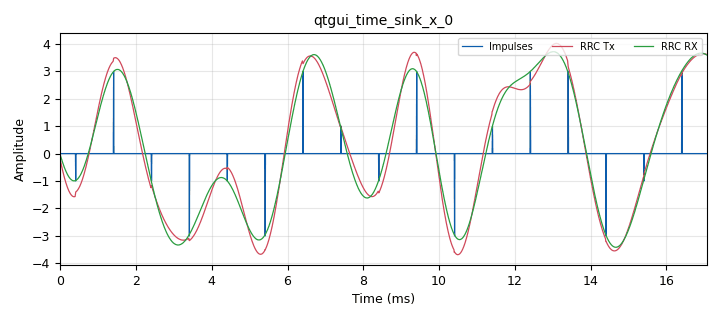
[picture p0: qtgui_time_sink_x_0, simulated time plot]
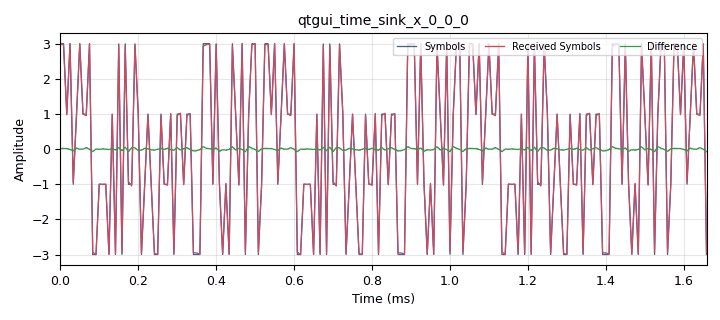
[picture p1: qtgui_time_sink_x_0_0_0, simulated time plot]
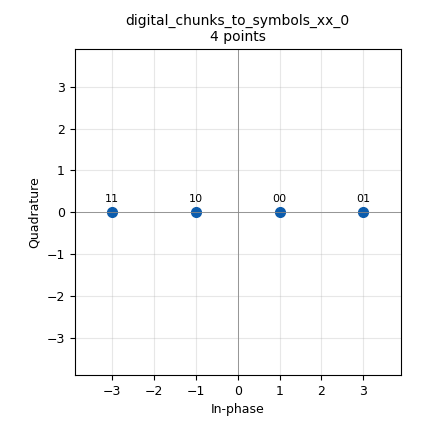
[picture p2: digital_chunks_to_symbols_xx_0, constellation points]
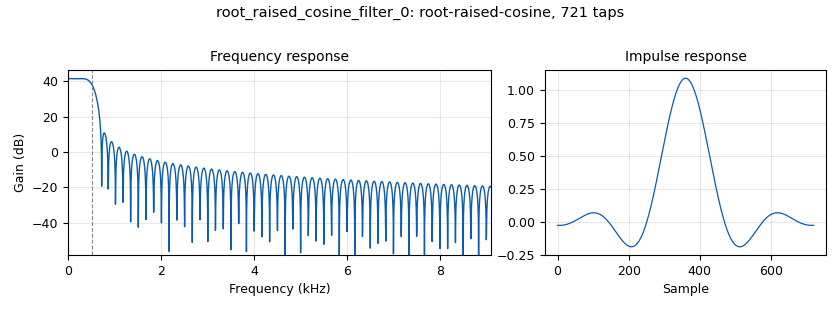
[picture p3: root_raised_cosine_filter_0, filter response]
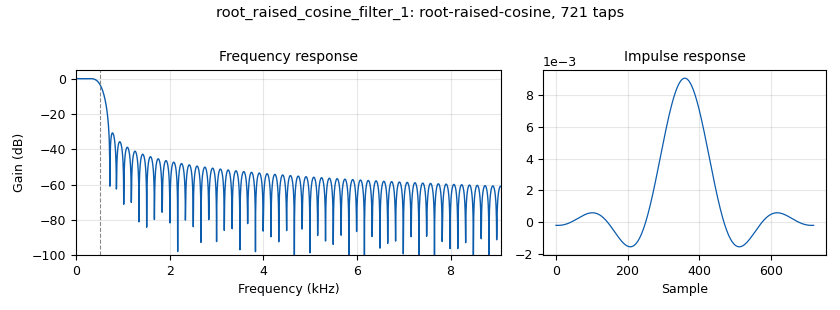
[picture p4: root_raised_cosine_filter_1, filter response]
<?xml version='1.0' encoding='utf-8'?>
<?grc format='1' created='3.7.9'?>
<flow_graph>
<block>
<key>options</key>
<param><key>id</key><value>top_block</value></param>
<param><key>author</key><value>Colter McQuay</value></param>
<param><key>category</key><value>Custom</value></param>
<param><key>generate_options</key><value>qt_gui</value></param>
<param><key>title</key><value>RRCF</value></param>
</block>
<block>
<key>variable_qtgui_range</key>
<param><key>id</key><value>noise</value></param>
<param><key>value</key><value>0</value></param>
<param><key>label</key><value>Noise Level</value></param>
<param><key>orient</key><value>Qt.Horizontal</value></param>
<param><key>start</key><value>0</value></param>
<param><key>step</key><value>0.01</value></param>
<param><key>stop</key><value>5</value></param>
</block>
<block>
<key>variable</key>
<param><key>id</key><value>rrc_taps</value></param>
<param><key>value</key><value>samp_per_sym*6+1</value></param>
</block>
<block>
<key>variable</key>
<param><key>id</key><value>samp_per_sym</value></param>
<param><key>value</key><value>120</value></param>
</block>
<block>
<key>variable</key>
<param><key>id</key><value>samp_rate</value></param>
<param><key>value</key><value>symb_rate*samp_per_sym</value></param>
</block>
<block>
<key>variable</key>
<param><key>id</key><value>symb_rate</value></param>
<param><key>value</key><value>1000</value></param>
</block>
<block>
<key>variable</key>
<param><key>id</key><value>symbol_delay</value></param>
<param><key>value</key><value>rrc_taps/samp_per_sym-1</value></param>
</block>
<block>
<key>analog_fastnoise_source_x</key>
<param><key>id</key><value>analog_fastnoise_source_x_0</value></param>
<param><key>amp</key><value>noise</value></param>
<param><key>noise_type</key><value>analog.GR_GAUSSIAN</value></param>
<param><key>type</key><value>float</value></param>
<param><key>seed</key><value>0</value></param>
<param><key>samples</key><value>8192</value></param>
</block>
<block>
<key>blks2_error_rate</key>
<param><key>id</key><value>blks2_error_rate_0</value></param>
<param><key>bits_per_symbol</key><value>2</value></param>
<param><key>type</key><value>'BER'</value></param>
<param><key>win_size</key><value>1000</value></param>
</block>
<block>
<key>blocks_add_xx</key>
<param><key>id</key><value>blocks_add_xx_0</value></param>
<param><key>type</key><value>float</value></param>
</block>
<block>
<key>blocks_char_to_float</key>
<param><key>id</key><value>blocks_char_to_float_0</value></param>
<param><key>_enabled</key><value>0</value></param>
<param><key>scale</key><value>1</value></param>
</block>
<block>
<key>blocks_char_to_float</key>
<param><key>id</key><value>blocks_char_to_float_0_0</value></param>
<param><key>_enabled</key><value>0</value></param>
<param><key>scale</key><value>1</value></param>
</block>
<block>
<key>blocks_delay</key>
<param><key>id</key><value>blocks_delay_0</value></param>
<param><key>delay</key><value>rrc_taps</value></param>
<param><key>type</key><value>float</value></param>
</block>
<block>
<key>blocks_delay</key>
<param><key>id</key><value>blocks_delay_0_0</value></param>
<param><key>delay</key><value>rrc_taps/2</value></param>
<param><key>type</key><value>float</value></param>
</block>
<block>
<key>blocks_delay</key>
<param><key>id</key><value>blocks_delay_0_1</value></param>
<param><key>delay</key><value>symbol_delay</value></param>
<param><key>type</key><value>float</value></param>
</block>
<block>
<key>blocks_delay</key>
<param><key>id</key><value>blocks_delay_2</value></param>
<param><key>delay</key><value>symbol_delay</value></param>
<param><key>type</key><value>byte</value></param>
</block>
<block>
<key>blocks_keep_one_in_n</key>
<param><key>id</key><value>blocks_keep_one_in_n_0</value></param>
<param><key>n</key><value>samp_per_sym</value></param>
<param><key>type</key><value>float</value></param>
</block>
<block>
<key>blocks_pack_k_bits_bb</key>
<param><key>id</key><value>blocks_pack_k_bits_bb_0_0</value></param>
<param><key>k</key><value>2</value></param>
</block>
<block>
<key>blocks_sub_xx</key>
<param><key>id</key><value>blocks_sub_xx_0</value></param>
<param><key>type</key><value>float</value></param>
</block>
<block>
<key>blocks_throttle</key>
<param><key>id</key><value>blocks_throttle_0</value></param>
<param><key>samples_per_second</key><value>samp_rate</value></param>
<param><key>type</key><value>float</value></param>
</block>
<block>
<key>digital_chunks_to_symbols_xx</key>
<param><key>id</key><value>digital_chunks_to_symbols_xx_0</value></param>
<param><key>dimension</key><value>1</value></param>
<param><key>in_type</key><value>byte</value></param>
<param><key>out_type</key><value>float</value></param>
<param><key>symbol_table</key><value>(1,3,-1,-3)</value></param>
</block>
<block>
<key>digital_glfsr_source_x</key>
<param><key>id</key><value>digital_glfsr_source_x_0</value></param>
<param><key>degree</key><value>6</value></param>
<param><key>mask</key><value>0</value></param>
<param><key>repeat</key><value>True</value></param>
<param><key>seed</key><value>1</value></param>
<param><key>type</key><value>byte</value></param>
</block>
<block>
<key>four_level_symbol_mapper</key>
<param><key>id</key><value>four_level_symbol_mapper_0</value></param>
<param><key>symbol_map</key><value>[1,3,-1,-3]</value></param>
</block>
<block>
<key>interp_fir_filter_xxx</key>
<param><key>id</key><value>interp_fir_filter_xxx_0</value></param>
<param><key>interp</key><value>samp_per_sym</value></param>
<param><key>taps</key><value>[1]</value></param>
<param><key>type</key><value>fff</value></param>
</block>
<block>
<key>qtgui_number_sink</key>
<param><key>id</key><value>qtgui_number_sink_0</value></param>
<param><key>graph_type</key><value>qtgui.NUM_GRAPH_HORIZ</value></param>
<param><key>type</key><value>float</value></param>
<param><key>label1</key><value>BER</value></param>
<param><key>min</key><value>0</value></param>
<param><key>name</key><value>BER</value></param>
</block>
<block>
<key>qtgui_time_sink_x</key>
<param><key>id</key><value>qtgui_time_sink_x_0</value></param>
<param><key>autoscale</key><value>True</value></param>
<param><key>color1</key><value>"blue"</value></param>
<param><key>label1</key><value>Impulses</value></param>
<param><key>alpha2</key><value>.3</value></param>
<param><key>color2</key><value>"red"</value></param>
<param><key>label2</key><value>RRC Tx</value></param>
<param><key>color3</key><value>"green"</value></param>
<param><key>label3</key><value>RRC RX</value></param>
<param><key>nconnections</key><value>3</value></param>
<param><key>size</key><value>2048</value></param>
<param><key>srate</key><value>samp_rate</value></param>
<param><key>type</key><value>float</value></param>
<param><key>ymax</key><value>3</value></param>
<param><key>ymin</key><value>-3</value></param>
</block>
<block>
<key>qtgui_time_sink_x</key>
<param><key>id</key><value>qtgui_time_sink_x_0_0</value></param>
<param><key>autoscale</key><value>True</value></param>
<param><key>_enabled</key><value>0</value></param>
<param><key>color1</key><value>"blue"</value></param>
<param><key>label1</key><value>Symbols</value></param>
<param><key>color2</key><value>"red"</value></param>
<param><key>label2</key><value>Received Symbols</value></param>
<param><key>nconnections</key><value>2</value></param>
<param><key>size</key><value>100</value></param>
<param><key>srate</key><value>samp_rate</value></param>
<param><key>type</key><value>float</value></param>
<param><key>ymax</key><value>3</value></param>
<param><key>ymin</key><value>0</value></param>
</block>
<block>
<key>qtgui_time_sink_x</key>
<param><key>id</key><value>qtgui_time_sink_x_0_0_0</value></param>
<param><key>autoscale</key><value>True</value></param>
<param><key>color1</key><value>"blue"</value></param>
<param><key>label1</key><value>Symbols</value></param>
<param><key>alpha2</key><value>1</value></param>
<param><key>color2</key><value>"red"</value></param>
<param><key>label2</key><value>Received Symbols</value></param>
<param><key>color3</key><value>"green"</value></param>
<param><key>label3</key><value>Difference</value></param>
<param><key>nconnections</key><value>3</value></param>
<param><key>size</key><value>200</value></param>
<param><key>srate</key><value>samp_rate</value></param>
<param><key>type</key><value>float</value></param>
<param><key>update_time</key><value>0.5</value></param>
<param><key>ymax</key><value>3</value></param>
<param><key>ymin</key><value>0</value></param>
</block>
<block>
<key>root_raised_cosine_filter</key>
<param><key>id</key><value>root_raised_cosine_filter_0</value></param>
<param><key>alpha</key><value>0.35</value></param>
<param><key>type</key><value>interp_fir_filter_fff</value></param>
<param><key>gain</key><value>samp_per_sym</value></param>
<param><key>interp</key><value>samp_per_sym</value></param>
<param><key>ntaps</key><value>rrc_taps</value></param>
<param><key>samp_rate</key><value>samp_rate</value></param>
<param><key>sym_rate</key><value>symb_rate</value></param>
</block>
<block>
<key>root_raised_cosine_filter</key>
<param><key>id</key><value>root_raised_cosine_filter_1</value></param>
<param><key>alpha</key><value>0.35</value></param>
<param><key>decim</key><value>1</value></param>
<param><key>type</key><value>fir_filter_fff</value></param>
<param><key>gain</key><value>1</value></param>
<param><key>ntaps</key><value>rrc_taps</value></param>
<param><key>samp_rate</key><value>samp_rate</value></param>
<param><key>sym_rate</key><value>symb_rate</value></param>
</block>
<block>
<key>virtual_sink</key>
<param><key>id</key><value>virtual_sink_0</value></param>
<param><key>stream_id</key><value>impulses</value></param>
</block>
<block>
<key>virtual_sink</key>
<param><key>id</key><value>virtual_sink_0_0</value></param>
<param><key>stream_id</key><value>channel</value></param>
</block>
<block>
<key>virtual_sink</key>
<param><key>id</key><value>virtual_sink_0_0_0</value></param>
<param><key>stream_id</key><value>rx</value></param>
</block>
<block>
<key>virtual_sink</key>
<param><key>id</key><value>virtual_sink_0_0_1</value></param>
<param><key>stream_id</key><value>tx</value></param>
</block>
<block>
<key>virtual_sink</key>
<param><key>id</key><value>virtual_sink_0_0_1_0</value></param>
<param><key>stream_id</key><value>rx_symbols</value></param>
</block>
<block>
<key>virtual_sink</key>
<param><key>id</key><value>virtual_sink_0_0_1_0_0</value></param>
<param><key>stream_id</key><value>rx_bits</value></param>
</block>
<block>
<key>virtual_sink</key>
<param><key>id</key><value>virtual_sink_1</value></param>
<param><key>stream_id</key><value>symbols</value></param>
</block>
<block>
<key>virtual_sink</key>
<param><key>id</key><value>virtual_sink_1_0</value></param>
<param><key>stream_id</key><value>bits</value></param>
</block>
<block>
<key>virtual_source</key>
<param><key>id</key><value>virtual_source_0_0</value></param>
<param><key>stream_id</key><value>tx</value></param>
</block>
<block>
<key>virtual_source</key>
<param><key>id</key><value>virtual_source_0_0_0</value></param>
<param><key>stream_id</key><value>tx</value></param>
</block>
<block>
<key>virtual_source</key>
<param><key>id</key><value>virtual_source_0_0_0_0</value></param>
<param><key>stream_id</key><value>rx</value></param>
</block>
<block>
<key>virtual_source</key>
<param><key>id</key><value>virtual_source_0_0_1</value></param>
<param><key>stream_id</key><value>symbols</value></param>
</block>
<block>
<key>virtual_source</key>
<param><key>id</key><value>virtual_source_0_0_1_0</value></param>
<param><key>stream_id</key><value>symbols</value></param>
</block>
<block>
<key>virtual_source</key>
<param><key>id</key><value>virtual_source_0_0_1_0_0</value></param>
<param><key>stream_id</key><value>bits</value></param>
</block>
<block>
<key>virtual_source</key>
<param><key>id</key><value>virtual_source_0_0_1_1</value></param>
<param><key>stream_id</key><value>channel</value></param>
</block>
<block>
<key>virtual_source</key>
<param><key>id</key><value>virtual_source_0_0_2</value></param>
<param><key>stream_id</key><value>rx</value></param>
</block>
<block>
<key>virtual_source</key>
<param><key>id</key><value>virtual_source_0_0_2_0_0</value></param>
<param><key>stream_id</key><value>bits</value></param>
</block>
<block>
<key>virtual_source</key>
<param><key>id</key><value>virtual_source_0_0_2_0_1</value></param>
<param><key>stream_id</key><value>symbols</value></param>
</block>
<block>
<key>virtual_source</key>
<param><key>id</key><value>virtual_source_0_0_2_1_0</value></param>
<param><key>stream_id</key><value>rx_bits</value></param>
</block>
<block>
<key>virtual_source</key>
<param><key>id</key><value>virtual_source_0_0_2_1_1</value></param>
<param><key>stream_id</key><value>rx_symbols</value></param>
</block>
<block>
<key>virtual_source</key>
<param><key>id</key><value>virtual_source_0_0_2_2</value></param>
<param><key>stream_id</key><value>rx_symbols</value></param>
</block>
<block>
<key>virtual_source</key>
<param><key>id</key><value>virtual_source_0_1</value></param>
<param><key>stream_id</key><value>impulses</value></param>
</block>
<connection><source_block_id>analog_fastnoise_source_x_0</source_block_id><sink_block_id>blocks_add_xx_0</sink_block_id><source_key>0</source_key><sink_key>1</sink_key></connection>
<connection><source_block_id>blks2_error_rate_0</source_block_id><sink_block_id>qtgui_number_sink_0</sink_block_id><source_key>0</source_key><sink_key>0</sink_key></connection>
<connection><source_block_id>blocks_add_xx_0</source_block_id><sink_block_id>virtual_sink_0_0_1</sink_block_id><source_key>0</source_key><sink_key>0</sink_key></connection>
<connection><source_block_id>blocks_char_to_float_0</source_block_id><sink_block_id>qtgui_time_sink_x_0_0</sink_block_id><source_key>0</source_key><sink_key>1</sink_key></connection>
<connection><source_block_id>blocks_char_to_float_0_0</source_block_id><sink_block_id>qtgui_time_sink_x_0_0</sink_block_id><source_key>0</source_key><sink_key>0</sink_key></connection>
<connection><source_block_id>blocks_delay_0</source_block_id><sink_block_id>qtgui_time_sink_x_0</sink_block_id><source_key>0</source_key><sink_key>0</sink_key></connection>
<connection><source_block_id>blocks_delay_0_0</source_block_id><sink_block_id>qtgui_time_sink_x_0</sink_block_id><source_key>0</source_key><sink_key>1</sink_key></connection>
<connection><source_block_id>blocks_delay_0_1</source_block_id><sink_block_id>blocks_sub_xx_0</sink_block_id><source_key>0</source_key><sink_key>0</sink_key></connection>
<connection><source_block_id>blocks_delay_0_1</source_block_id><sink_block_id>qtgui_time_sink_x_0_0_0</sink_block_id><source_key>0</source_key><sink_key>0</sink_key></connection>
<connection><source_block_id>blocks_delay_2</source_block_id><sink_block_id>blks2_error_rate_0</sink_block_id><source_key>0</source_key><sink_key>0</sink_key></connection>
<connection><source_block_id>blocks_delay_2</source_block_id><sink_block_id>blocks_char_to_float_0_0</sink_block_id><source_key>0</source_key><sink_key>0</sink_key></connection>
<connection><source_block_id>blocks_keep_one_in_n_0</source_block_id><sink_block_id>virtual_sink_0_0_1_0</sink_block_id><source_key>0</source_key><sink_key>0</sink_key></connection>
<connection><source_block_id>blocks_pack_k_bits_bb_0_0</source_block_id><sink_block_id>virtual_sink_1_0</sink_block_id><source_key>0</source_key><sink_key>0</sink_key></connection>
<connection><source_block_id>blocks_sub_xx_0</source_block_id><sink_block_id>qtgui_time_sink_x_0_0_0</sink_block_id><source_key>0</source_key><sink_key>2</sink_key></connection>
<connection><source_block_id>blocks_throttle_0</source_block_id><sink_block_id>virtual_sink_0_0</sink_block_id><source_key>0</source_key><sink_key>0</sink_key></connection>
<connection><source_block_id>digital_chunks_to_symbols_xx_0</source_block_id><sink_block_id>virtual_sink_1</sink_block_id><source_key>0</source_key><sink_key>0</sink_key></connection>
<connection><source_block_id>digital_glfsr_source_x_0</source_block_id><sink_block_id>blocks_pack_k_bits_bb_0_0</sink_block_id><source_key>0</source_key><sink_key>0</sink_key></connection>
<connection><source_block_id>four_level_symbol_mapper_0</source_block_id><sink_block_id>virtual_sink_0_0_1_0_0</sink_block_id><source_key>0</source_key><sink_key>0</sink_key></connection>
<connection><source_block_id>interp_fir_filter_xxx_0</source_block_id><sink_block_id>virtual_sink_0</sink_block_id><source_key>0</source_key><sink_key>0</sink_key></connection>
<connection><source_block_id>root_raised_cosine_filter_0</source_block_id><sink_block_id>blocks_throttle_0</sink_block_id><source_key>0</source_key><sink_key>0</sink_key></connection>
<connection><source_block_id>root_raised_cosine_filter_1</source_block_id><sink_block_id>virtual_sink_0_0_0</sink_block_id><source_key>0</source_key><sink_key>0</sink_key></connection>
<connection><source_block_id>virtual_source_0_0</source_block_id><sink_block_id>root_raised_cosine_filter_1</sink_block_id><source_key>0</source_key><sink_key>0</sink_key></connection>
<connection><source_block_id>virtual_source_0_0_0</source_block_id><sink_block_id>blocks_delay_0_0</sink_block_id><source_key>0</source_key><sink_key>0</sink_key></connection>
<connection><source_block_id>virtual_source_0_0_0_0</source_block_id><sink_block_id>qtgui_time_sink_x_0</sink_block_id><source_key>0</source_key><sink_key>2</sink_key></connection>
<connection><source_block_id>virtual_source_0_0_1</source_block_id><sink_block_id>root_raised_cosine_filter_0</sink_block_id><source_key>0</source_key><sink_key>0</sink_key></connection>
<connection><source_block_id>virtual_source_0_0_1_0</source_block_id><sink_block_id>interp_fir_filter_xxx_0</sink_block_id><source_key>0</source_key><sink_key>0</sink_key></connection>
<connection><source_block_id>virtual_source_0_0_1_0_0</source_block_id><sink_block_id>digital_chunks_to_symbols_xx_0</sink_block_id><source_key>0</source_key><sink_key>0</sink_key></connection>
<connection><source_block_id>virtual_source_0_0_1_1</source_block_id><sink_block_id>blocks_add_xx_0</sink_block_id><source_key>0</source_key><sink_key>0</sink_key></connection>
<connection><source_block_id>virtual_source_0_0_2</source_block_id><sink_block_id>blocks_keep_one_in_n_0</sink_block_id><source_key>0</source_key><sink_key>0</sink_key></connection>
<connection><source_block_id>virtual_source_0_0_2_0_0</source_block_id><sink_block_id>blocks_delay_2</sink_block_id><source_key>0</source_key><sink_key>0</sink_key></connection>
<connection><source_block_id>virtual_source_0_0_2_0_1</source_block_id><sink_block_id>blocks_delay_0_1</sink_block_id><source_key>0</source_key><sink_key>0</sink_key></connection>
<connection><source_block_id>virtual_source_0_0_2_1_0</source_block_id><sink_block_id>blks2_error_rate_0</sink_block_id><source_key>0</source_key><sink_key>1</sink_key></connection>
<connection><source_block_id>virtual_source_0_0_2_1_0</source_block_id><sink_block_id>blocks_char_to_float_0</sink_block_id><source_key>0</source_key><sink_key>0</sink_key></connection>
<connection><source_block_id>virtual_source_0_0_2_1_1</source_block_id><sink_block_id>blocks_sub_xx_0</sink_block_id><source_key>0</source_key><sink_key>1</sink_key></connection>
<connection><source_block_id>virtual_source_0_0_2_1_1</source_block_id><sink_block_id>qtgui_time_sink_x_0_0_0</sink_block_id><source_key>0</source_key><sink_key>1</sink_key></connection>
<connection><source_block_id>virtual_source_0_0_2_2</source_block_id><sink_block_id>four_level_symbol_mapper_0</sink_block_id><source_key>0</source_key><sink_key>0</sink_key></connection>
<connection><source_block_id>virtual_source_0_1</source_block_id><sink_block_id>blocks_delay_0</sink_block_id><source_key>0</source_key><sink_key>0</sink_key></connection>
</flow_graph>
